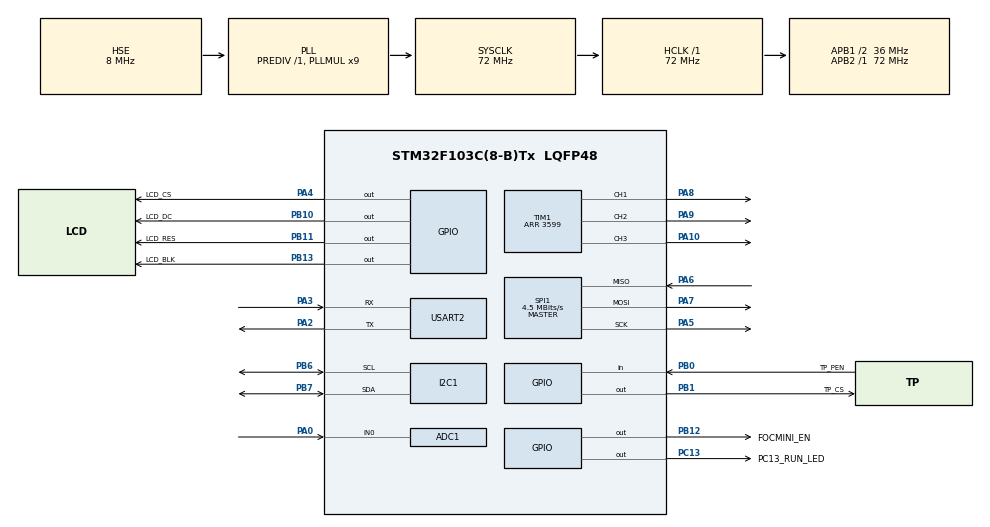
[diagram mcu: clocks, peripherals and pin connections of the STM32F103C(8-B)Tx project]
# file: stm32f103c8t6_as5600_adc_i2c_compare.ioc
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ADC1.Channel-0\#ChannelRegularConversion=ADC_CHANNEL_0
ADC1.NbrOfConversionFlag=1
ADC1.Rank-0\#ChannelRegularConversion=1
ADC1.SamplingTime-0\#ChannelRegularConversion=ADC_SAMPLETIME_55CYCLES_5
ADC1.master=1
Dma.Request0=SPI1_TX
Dma.Request1=USART2_RX
Dma.Request2=USART2_TX
Dma.SPI1_TX.0.Direction=DMA_MEMORY_TO_PERIPH
Dma.SPI1_TX.0.Instance=DMA1_Channel3
Dma.SPI1_TX.0.MemDataAlignment=DMA_MDATAALIGN_BYTE
Dma.SPI1_TX.0.MemInc=DMA_MINC_ENABLE
Dma.SPI1_TX.0.Mode=DMA_NORMAL
Dma.SPI1_TX.0.PeriphDataAlignment=DMA_PDATAALIGN_BYTE
Dma.SPI1_TX.0.PeriphInc=DMA_PINC_DISABLE
Dma.SPI1_TX.0.Priority=DMA_PRIORITY_LOW
Dma.USART2_RX.1.Direction=DMA_PERIPH_TO_MEMORY
Dma.USART2_RX.1.Instance=DMA1_Channel6
Dma.USART2_RX.1.MemDataAlignment=DMA_MDATAALIGN_BYTE
Dma.USART2_RX.1.MemInc=DMA_MINC_ENABLE
Dma.USART2_RX.1.Mode=DMA_CIRCULAR
Dma.USART2_RX.1.PeriphDataAlignment=DMA_PDATAALIGN_BYTE
Dma.USART2_RX.1.PeriphInc=DMA_PINC_DISABLE
Dma.USART2_RX.1.Priority=DMA_PRIORITY_LOW
Dma.USART2_TX.2.Direction=DMA_MEMORY_TO_PERIPH
Dma.USART2_TX.2.Instance=DMA1_Channel7
Dma.USART2_TX.2.MemDataAlignment=DMA_MDATAALIGN_BYTE
Dma.USART2_TX.2.MemInc=DMA_MINC_ENABLE
Dma.USART2_TX.2.Mode=DMA_NORMAL
Dma.USART2_TX.2.PeriphDataAlignment=DMA_PDATAALIGN_BYTE
Dma.USART2_TX.2.PeriphInc=DMA_PINC_DISABLE
Dma.USART2_TX.2.Priority=DMA_PRIORITY_LOW
FREERTOS.Tasks01=ControlTask,40,256,StartControlTask,Default,NULL,Dynamic,NULL,NULL;UITask,24,512,StartUiTask,Default,NULL,Dynamic,NULL,NULL;MonitorTask,8,128,StartMonitorTask,Default,NULL,Dynamic,NULL,NULL;FeedbackTask,32,256,StartFeedbackTask,Default,NULL,Dynamic,NULL,NULL;CommTask,16,384,StartCommTask,Default,NULL,Dynamic,NULL,NULL
FREERTOS.configTOTAL_HEAP_SIZE=8192
Mcu.Family=STM32F1
Mcu.Name=STM32F103C(8-B)Tx
Mcu.Package=LQFP48
NVIC.DMA1_Channel3_IRQn=true\:5\:0\:false\:false\:true\:true\:false\:true\:true
NVIC.DMA1_Channel6_IRQn=true\:5\:0\:false\:false\:true\:true\:false\:true\:true
NVIC.DMA1_Channel7_IRQn=true\:5\:0\:false\:false\:true\:true\:false\:true\:true
NVIC.PriorityGroup=NVIC_PRIORITYGROUP_4
NVIC.TIM2_IRQn=true\:15\:0\:false\:false\:true\:false\:false\:true\:true
NVIC.TimeBase=TIM2_IRQn
NVIC.TimeBaseIP=TIM2
PA0-WKUP.Signal=ADCx_IN0
PA10.Signal=S_TIM1_CH3
PA13.Mode=Serial_Wire
PA13.Signal=SYS_JTMS-SWDIO
PA14.Mode=Serial_Wire
PA14.Signal=SYS_JTCK-SWCLK
PA2.Mode=Asynchronous
PA2.Signal=USART2_TX
PA3.Mode=Asynchronous
PA3.Signal=USART2_RX
PA4.GPIO_Label=LCD_CS
PA4.PinState=GPIO_PIN_SET
PA4.Signal=GPIO_Output
PA5.Mode=Full_Duplex_Master
PA5.Signal=SPI1_SCK
PA6.Mode=Full_Duplex_Master
PA6.Signal=SPI1_MISO
PA7.Mode=Full_Duplex_Master
PA7.Signal=SPI1_MOSI
PA8.Signal=S_TIM1_CH1
PA9.Signal=S_TIM1_CH2
PB0.GPIO_Label=TP_PEN
PB0.GPIO_PuPd=GPIO_PULLUP
PB0.Signal=GPIO_Input
PB1.GPIO_Label=TP_CS
PB1.PinState=GPIO_PIN_SET
PB1.Signal=GPIO_Output
PB10.GPIO_Label=LCD_DC
PB10.PinState=GPIO_PIN_SET
PB10.Signal=GPIO_Output
PB11.GPIO_Label=LCD_RES
PB11.PinState=GPIO_PIN_SET
PB11.Signal=GPIO_Output
PB12.GPIO_Label=FOCMINI_EN
PB12.Signal=GPIO_Output
PB13.GPIO_Label=LCD_BLK
PB13.PinState=GPIO_PIN_SET
PB13.Signal=GPIO_Output
PB6.Mode=I2C
PB6.Signal=I2C1_SCL
PB7.Mode=I2C
PB7.Signal=I2C1_SDA
PC13-TAMPER-RTC.GPIO_Label=PC13_RUN_LED
PC13-TAMPER-RTC.PinState=GPIO_PIN_RESET
PC13-TAMPER-RTC.Signal=GPIO_Output
PD0-OSC_IN.Mode=HSE-External-Oscillator
PD0-OSC_IN.Signal=RCC_OSC_IN
PD1-OSC_OUT.Mode=HSE-External-Oscillator
PD1-OSC_OUT.Signal=RCC_OSC_OUT
ProjectManager.HeapSize=0x200
ProjectManager.StackSize=0x400
ProjectManager.TargetToolchain=STM32CubeIDE
RCC.ADCPresc=RCC_ADCPCLK2_DIV6
RCC.AHBFreq_Value=72000000
RCC.APB1CLKDivider=RCC_HCLK_DIV2
RCC.APB1Freq_Value=36000000
RCC.APB1TimFreq_Value=72000000
RCC.APB2Freq_Value=72000000
RCC.APB2TimFreq_Value=72000000
RCC.HCLKFreq_Value=72000000
RCC.PLLMUL=RCC_PLL_MUL9
RCC.PLLSourceVirtual=RCC_PLLSOURCE_HSE
RCC.SYSCLKFreq_VALUE=72000000
RCC.SYSCLKSource=RCC_SYSCLKSOURCE_PLLCLK
RCC.USBFreq_Value=72000000
SH.ADCx_IN0.0=ADC1_IN0,IN0
SH.S_TIM1_CH1.0=TIM1_CH1,PWM Generation1 CH1
SH.S_TIM1_CH2.0=TIM1_CH2,PWM Generation2 CH2
SH.S_TIM1_CH3.0=TIM1_CH3,PWM Generation3 CH3
SPI1.BaudRatePrescaler=SPI_BAUDRATEPRESCALER_16
SPI1.CalculateBaudRate=4.5 MBits/s
SPI1.Direction=SPI_DIRECTION_2LINES
SPI1.Mode=SPI_MODE_MASTER
SPI1.VirtualType=VM_MASTER
TIM1.AutoReloadPreload=TIM_AUTORELOAD_PRELOAD_ENABLE
TIM1.Channel-PWM\ Generation1\ CH1=TIM_CHANNEL_1
TIM1.Channel-PWM\ Generation2\ CH2=TIM_CHANNEL_2
TIM1.Channel-PWM\ Generation3\ CH3=TIM_CHANNEL_3
TIM1.Period=3599
USART2.VirtualMode=VM_ASYNC
VP_FREERTOS_VS_CMSIS_V2.Mode=CMSIS_V2
VP_SYS_VS_tim2.Mode=TIM2
VP_TIM1_VS_ClockSourceINT.Mode=Internal
board=custom

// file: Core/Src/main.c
/* USER CODE BEGIN Header */
/**
  ******************************************************************************
  * @file           : main.c
  * @brief          : Main program body
  ******************************************************************************
  * @attention
  *
  * Copyright (c) 2026 STMicroelectronics.
  * All rights reserved.
  *
  * This software is licensed under terms that can be found in the LICENSE file
  * in the root directory of this software component.
  * If no LICENSE file comes with this software, it is provided AS-IS.
  *
  ******************************************************************************
  */
/* USER CODE END Header */
#include "main.h"
#include "cmsis_os.h"
#include "adc.h"
#include "dma.h"
#include "i2c.h"
#include "spi.h"
#include "tim.h"
#include "usart.h"
#include "gpio.h"

/* USER CODE BEGIN Includes */
/* printf 依赖标准输入输出接口，这里用于串口打印调试信息。 */
#include <stdio.h>
#include "motor_driver.h"
#include "motor_control.h"
#include "motor_ui.h"

/* USER CODE END Includes */

/* USER CODE BEGIN PD */
#define ENABLE_BOOT_UART_LOG 0U
/* USER CODE END PD */

void SystemClock_Config(void);
void MX_FREERTOS_Init(void);

/* USER CODE BEGIN 0 */
/* 部分编译环境中，printf 最终会逐字符调用 __io_putchar。
 * 这里把每个字符重定向到 USART2，便于串口终端查看输出。 */
int __io_putchar(int ch)
{
  uint8_t c = (uint8_t)ch;
  HAL_UART_Transmit(&huart2, &c, 1U, 100U);
  return ch;
}

/* GCC/newlib 常通过 _write 完成 printf 输出。
 * 这里把缓冲区整体转发到 USART2。
 * 注：__io_putchar 与 _write 通常保留一种即可，但两者并存可兼容不同工具链配置。 */
int _write(int file, char *ptr, int len)
{
  (void)file;
  HAL_UART_Transmit(&huart2, (uint8_t *)ptr, len, 100U);
  return len;
}

/* USER CODE END 0 */

int main(void)
{

  /* MCU Configuration--------------------------------------------------------*/

  /* Reset of all peripherals, Initializes the Flash interface and the Systick. */
  HAL_Init();

  /* Configure the system clock */
  SystemClock_Config();

  /* Initialize all configured peripherals */
  MX_GPIO_Init();
  MX_DMA_Init();
  MX_ADC1_Init();
  MX_I2C1_Init();
  MX_TIM1_Init();
  MX_USART2_UART_Init();
  MX_SPI1_Init();
  /* USER CODE BEGIN 2 */
#if ENABLE_BOOT_UART_LOG
  /* 直接发送字符串：用于确认 USART2 外设与引脚配置正常。 */
  HAL_UART_Transmit(&huart2, (uint8_t *)"UART direct test\r\n", 18, 100);
  /* printf 测试：用于确认重定向链路（__io_putchar/_write）正常。 */
  printf("printf test\r\n");
#endif

  MotorDriver_Init();
  MotorControl_Init();
  MotorUi_Init();

  /* STM32F1 的 ADC 在使用前建议校准，可减小转换偏差。 */
  if (HAL_ADCEx_Calibration_Start(&hadc1) != HAL_OK)
  {
#if ENABLE_BOOT_UART_LOG
    printf("[ERR] ADC calibration failed\r\n");
#endif
  }
  else
  {
#if ENABLE_BOOT_UART_LOG
    printf("[OK ] ADC calibration done\r\n");
#endif
  }

#if ENABLE_BOOT_UART_LOG
  printf("AS5600 ADC/I2C compare start\r\n");
#endif
  /* USER CODE END 2 */

  /* Init scheduler */
  osKernelInitialize();  /* Call init function for freertos objects (in cmsis_os2.c) */
  MX_FREERTOS_Init();

  /* Start scheduler */
  osKernelStart();

  /* We should never get here as control is now taken by the scheduler */

  /* Infinite loop */
  while (1)
  {

    /* USER CODE BEGIN 3 */
    Error_Handler();
  }
  /* USER CODE END 3 */
}

void SystemClock_Config(void)
{
  RCC_OscInitTypeDef RCC_OscInitStruct = {0};
  RCC_ClkInitTypeDef RCC_ClkInitStruct = {0};
  RCC_PeriphCLKInitTypeDef PeriphClkInit = {0};

  /** Initializes the RCC Oscillators according to the specified parameters
  * in the RCC_OscInitTypeDef structure.
  */
  RCC_OscInitStruct.OscillatorType = RCC_OSCILLATORTYPE_HSE;
  RCC_OscInitStruct.HSEState = RCC_HSE_ON;
  RCC_OscInitStruct.HSEPredivValue = RCC_HSE_PREDIV_DIV1;
  RCC_OscInitStruct.HSIState = RCC_HSI_ON;
  RCC_OscInitStruct.PLL.PLLState = RCC_PLL_ON;
  RCC_OscInitStruct.PLL.PLLSource = RCC_PLLSOURCE_HSE;
  RCC_OscInitStruct.PLL.PLLMUL = RCC_PLL_MUL9;
  if (HAL_RCC_OscConfig(&RCC_OscInitStruct) != HAL_OK)
  {
    Error_Handler();
  }

  /** Initializes the CPU, AHB and APB buses clocks
  */
  RCC_ClkInitStruct.ClockType = RCC_CLOCKTYPE_HCLK|RCC_CLOCKTYPE_SYSCLK
                              |RCC_CLOCKTYPE_PCLK1|RCC_CLOCKTYPE_PCLK2;
  RCC_ClkInitStruct.SYSCLKSource = RCC_SYSCLKSOURCE_PLLCLK;
  RCC_ClkInitStruct.AHBCLKDivider = RCC_SYSCLK_DIV1;
  RCC_ClkInitStruct.APB1CLKDivider = RCC_HCLK_DIV2;
  RCC_ClkInitStruct.APB2CLKDivider = RCC_HCLK_DIV1;

  if (HAL_RCC_ClockConfig(&RCC_ClkInitStruct, FLASH_LATENCY_2) != HAL_OK)
  {
    Error_Handler();
  }
  PeriphClkInit.PeriphClockSelection = RCC_PERIPHCLK_ADC;
  PeriphClkInit.AdcClockSelection = RCC_ADCPCLK2_DIV6;
  if (HAL_RCCEx_PeriphCLKConfig(&PeriphClkInit) != HAL_OK)
  {
    Error_Handler();
  }
}

void HAL_TIM_PeriodElapsedCallback(TIM_HandleTypeDef *htim)
{
  if (htim->Instance == TIM2)
  {
    HAL_IncTick();
  }
}

void Error_Handler(void)
{
  __disable_irq();
  while (1)
  {
  }
}

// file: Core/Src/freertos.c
/* USER CODE BEGIN Header */
/**
  ******************************************************************************
  * File Name          : freertos.c
  * Description        : Code for freertos applications
  ******************************************************************************
  * @attention
  *
  * Copyright (c) 2026 STMicroelectronics.
  * All rights reserved.
  *
  * This software is licensed under terms that can be found in the LICENSE file
  * in the root directory of this software component.
  * If no LICENSE file comes with this software, it is provided AS-IS.
  *
  ******************************************************************************
  */
/* USER CODE END Header */

#include "FreeRTOS.h"
#include "task.h"
#include "main.h"
#include "cmsis_os.h"

/* USER CODE BEGIN Includes */
#include "comm_task.h"
#include "motor_control.h"
#include "motor_control_config.h"
#include "motor_feedback.h"
#include "motor_ui.h"

/* USER CODE END Includes */

/* USER CODE BEGIN PD */
#define ENABLE_RTOS_STACK_MONITOR 0U
/*
 * Stage-2 RTOS ownership:
 * - FeedbackTask owns I2C1/AS5600 sampling.
 * - UITask owns LCD/touch UI work and reads feedback snapshots.
 * - ControlTask consumes snapshots through motor_control and never touches I2C/SPI.
 * Mutexes are deferred until a peripheral is shared by more than one task.
 */

/* USER CODE END PD */

/* Definitions for ControlTask */
osThreadId_t ControlTaskHandle;
const osThreadAttr_t ControlTask_attributes = {
  .name = "ControlTask",
  .stack_size = 256 * 4,
  .priority = (osPriority_t) osPriorityHigh,
};
/* Definitions for UITask */
osThreadId_t UITaskHandle;
const osThreadAttr_t UITask_attributes = {
  .name = "UITask",
  .stack_size = 512 * 4,
  .priority = (osPriority_t) osPriorityNormal,
};
/* Definitions for MonitorTask */
osThreadId_t MonitorTaskHandle;
const osThreadAttr_t MonitorTask_attributes = {
  .name = "MonitorTask",
  .stack_size = 128 * 4,
  .priority = (osPriority_t) osPriorityLow,
};
/* Definitions for FeedbackTask */
osThreadId_t FeedbackTaskHandle;
const osThreadAttr_t FeedbackTask_attributes = {
  .name = "FeedbackTask",
  .stack_size = 256 * 4,
  .priority = (osPriority_t) osPriorityAboveNormal,
};
/* Definitions for CommTask */
osThreadId_t CommTaskHandle;
const osThreadAttr_t CommTask_attributes = {
  .name = "CommTask",
  .stack_size = 384 * 4,
  .priority = (osPriority_t) osPriorityBelowNormal,
};

/* USER CODE BEGIN FunctionPrototypes */
#if ENABLE_RTOS_STACK_MONITOR
static void RtosStackMonitor_Sample(void);
#endif

/* USER CODE END FunctionPrototypes */

void StartControlTask(void *argument);
void StartUiTask(void *argument);
void StartMonitorTask(void *argument);
void StartFeedbackTask(void *argument);
void StartCommTask(void *argument);

void MX_FREERTOS_Init(void); /* (MISRA C 2004 rule 8.1) */

void MX_FREERTOS_Init(void) {

  /* Create the thread(s) */
  /* creation of ControlTask */
  ControlTaskHandle = osThreadNew(StartControlTask, NULL, &ControlTask_attributes);

  /* creation of UITask */
  UITaskHandle = osThreadNew(StartUiTask, NULL, &UITask_attributes);

  /* creation of MonitorTask */
  MonitorTaskHandle = osThreadNew(StartMonitorTask, NULL, &MonitorTask_attributes);

  /* creation of FeedbackTask */
  FeedbackTaskHandle = osThreadNew(StartFeedbackTask, NULL, &FeedbackTask_attributes);

  /* creation of CommTask */
  CommTaskHandle = osThreadNew(StartCommTask, NULL, &CommTask_attributes);

  /* USER CODE BEGIN RTOS_THREADS */
  if ((ControlTaskHandle == NULL) ||
      (FeedbackTaskHandle == NULL) ||
      (UITaskHandle == NULL) ||
      (MonitorTaskHandle == NULL) ||
      (CommTaskHandle == NULL))
  {
    Error_Handler();
  }
  /* USER CODE END RTOS_THREADS */

}

void StartControlTask(void *argument)
{
  /* USER CODE BEGIN StartControlTask */
  (void)argument;
  uint32_t wake_tick = osKernelGetTickCount();

  /* Infinite loop */
  for(;;)
  {
    wake_tick += 1U;
    MotorControl_Tick1ms();
    (void)osDelayUntil(wake_tick);
  }
  /* USER CODE END StartControlTask */
}

void StartUiTask(void *argument)
{
  /* USER CODE BEGIN StartUiTask */
  (void)argument;

  /* Infinite loop */
  for(;;)
  {
    MotorUi_Update(HAL_GetTick());
    osDelay(10);
  }
  /* USER CODE END StartUiTask */
}

void StartMonitorTask(void *argument)
{
  /* USER CODE BEGIN StartMonitorTask */
  (void)argument;

  /* Infinite loop */
  for(;;)
  {
    HAL_GPIO_TogglePin(PC13_RUN_LED_GPIO_Port, PC13_RUN_LED_Pin);
#if ENABLE_RTOS_STACK_MONITOR
    RtosStackMonitor_Sample();
#endif
    osDelay(500);
  }
  /* USER CODE END StartMonitorTask */
}

void StartFeedbackTask(void *argument)
{
  /* USER CODE BEGIN StartFeedbackTask */
  (void)argument;
  uint32_t wake_tick = osKernelGetTickCount();

  /* Infinite loop */
  for(;;)
  {
    wake_tick += MOTOR_FEEDBACK_TASK_PERIOD_MS;
    MotorFeedback_Update(HAL_GetTick());
    (void)osDelayUntil(wake_tick);
  }
  /* USER CODE END StartFeedbackTask */
}

void StartCommTask(void *argument)
{
  /* USER CODE BEGIN StartCommTask */
  (void)argument;
  CommTask_Run();
  /* USER CODE END StartCommTask */
}

/* USER CODE BEGIN Application */
#if ENABLE_RTOS_STACK_MONITOR
static void RtosStackMonitor_Sample(void)
{
  volatile UBaseType_t control_stack_words = uxTaskGetStackHighWaterMark(ControlTaskHandle);
  volatile UBaseType_t feedback_stack_words = uxTaskGetStackHighWaterMark(FeedbackTaskHandle);
  volatile UBaseType_t ui_stack_words = uxTaskGetStackHighWaterMark(UITaskHandle);
  volatile UBaseType_t monitor_stack_words = uxTaskGetStackHighWaterMark(MonitorTaskHandle);

  (void)control_stack_words;
  (void)feedback_stack_words;
  (void)ui_stack_words;
  (void)monitor_stack_words;
}
#endif

/* USER CODE END Application */
